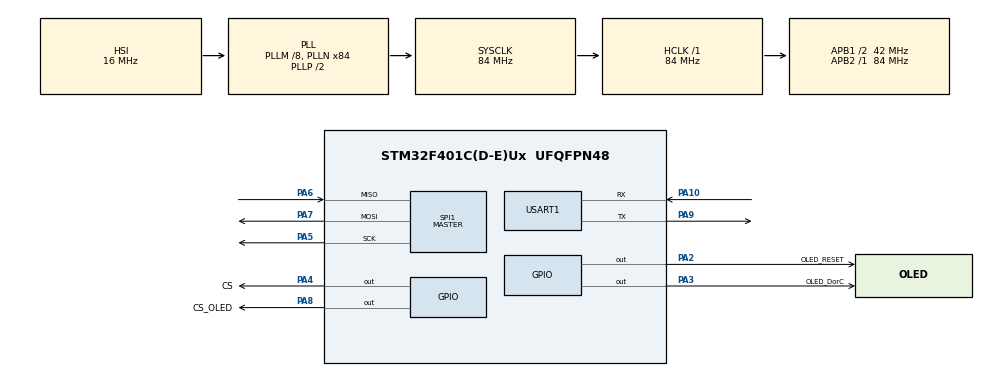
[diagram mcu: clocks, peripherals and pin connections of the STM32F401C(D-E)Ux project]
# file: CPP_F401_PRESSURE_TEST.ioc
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Mcu.Family=STM32F4
Mcu.Name=STM32F401C(D-E)Ux
Mcu.Package=UFQFPN48
NVIC.PriorityGroup=NVIC_PRIORITYGROUP_4
PA10.Mode=Asynchronous
PA10.Signal=USART1_RX
PA13.Mode=Serial_Wire
PA13.Signal=SYS_JTMS-SWDIO
PA14.Mode=Serial_Wire
PA14.Signal=SYS_JTCK-SWCLK
PA2.GPIO_Label=OLED_RESET
PA2.GPIO_ModeDefaultOutputPP=GPIO_MODE_OUTPUT_PP
PA2.GPIO_PuPd=GPIO_PULLDOWN
PA2.GPIO_Speed=GPIO_SPEED_FREQ_VERY_HIGH
PA2.PinState=GPIO_PIN_SET
PA2.Signal=GPIO_Output
PA3.GPIO_Label=OLED_DorC
PA3.GPIO_PuPd=GPIO_PULLUP
PA3.GPIO_Speed=GPIO_SPEED_FREQ_VERY_HIGH
PA3.PinState=GPIO_PIN_SET
PA3.Signal=GPIO_Output
PA4.GPIO_Label=CS
PA4.GPIO_PuPd=GPIO_PULLUP
PA4.GPIO_Speed=GPIO_SPEED_FREQ_VERY_HIGH
PA4.PinState=GPIO_PIN_SET
PA4.Signal=GPIO_Output
PA5.Mode=Full_Duplex_Master
PA5.Signal=SPI1_SCK
PA6.Mode=Full_Duplex_Master
PA6.Signal=SPI1_MISO
PA7.Mode=Full_Duplex_Master
PA7.Signal=SPI1_MOSI
PA8.GPIO_Label=CS_OLED
PA8.GPIO_ModeDefaultOutputPP=GPIO_MODE_OUTPUT_PP
PA8.GPIO_PuPd=GPIO_PULLUP
PA8.GPIO_Speed=GPIO_SPEED_FREQ_VERY_HIGH
PA8.PinState=GPIO_PIN_SET
PA8.Signal=GPIO_Output
PA9.Mode=Asynchronous
PA9.Signal=USART1_TX
ProjectManager.HeapSize=0x200
ProjectManager.StackSize=0x400
ProjectManager.TargetToolchain=STM32CubeIDE
RCC.48MHZClocksFreq_Value=42000000
RCC.AHBFreq_Value=84000000
RCC.APB1CLKDivider=RCC_HCLK_DIV2
RCC.APB1Freq_Value=42000000
RCC.APB1TimFreq_Value=84000000
RCC.APB2Freq_Value=84000000
RCC.APB2TimFreq_Value=84000000
RCC.CortexFreq_Value=84000000
RCC.HCLKFreq_Value=84000000
RCC.HSE_VALUE=25000000
RCC.HSI_VALUE=16000000
RCC.LSE_VALUE=32768
RCC.PLLM=8
RCC.PLLN=84
RCC.SYSCLKFreq_VALUE=84000000
RCC.SYSCLKSource=RCC_SYSCLKSOURCE_PLLCLK
RCC.VCOOutputFreq_Value=168000000
SPI1.BaudRatePrescaler=SPI_BAUDRATEPRESCALER_16
SPI1.CLKPhase=SPI_PHASE_2EDGE
SPI1.CLKPolarity=SPI_POLARITY_HIGH
SPI1.Direction=SPI_DIRECTION_2LINES
SPI1.Mode=SPI_MODE_MASTER
SPI1.VirtualType=VM_MASTER
USART1.VirtualMode=VM_ASYNC
board=custom

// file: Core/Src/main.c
/* USER CODE BEGIN Header */
/**
  ******************************************************************************
  * @file           : main.c
  * @brief          : Main program body
  ******************************************************************************
  * @attention
  *
  * Copyright (c) 2021 STMicroelectronics.
  * All rights reserved.
  *
  * This software is licensed under terms that can be found in the LICENSE file
  * in the root directory of this software component.
  * If no LICENSE file comes with this software, it is provided AS-IS.
  *
  ******************************************************************************
  */
/* USER CODE END Header */
#include "main.h"

/* USER CODE BEGIN Includes */
#include "BMP280.h"
#include "stdio.h"
#include "front.h"
/* USER CODE END Includes */

/* USER CODE BEGIN PTD */
#ifdef __GNUC__
#define PUTCHAR_PROTOTYPE int __io_putchar(int ch)
#else
#define PUTCHAR_PROTOTYPE int fputc(int ch, FILE *f)
#endif
PUTCHAR_PROTOTYPE
{
//此处用的是USART2
//你在使用时仅仅需要把’USART2‘改成你的串口就可以�?????????????
    while ((USART1->SR & 0X40) == 0);
    USART1->DR = (uint8_t) ch;
    return ch;
}
/* USER CODE END PTD */

SPI_HandleTypeDef hspi1;

UART_HandleTypeDef huart1;

/* USER CODE BEGIN PV */
double pressure_temperature[2];
/* USER CODE END PV */

void SystemClock_Config(void);
static void MX_GPIO_Init(void);
static void MX_SPI1_Init(void);
static void MX_USART1_UART_Init(void);
/* USER CODE BEGIN PFP */
void oled_display_test();
void oled_cmd(uint8_t cmd);
void oled_data(uint8_t data);
void oled_init();
void temperature_display_test();
/* USER CODE END PFP */

int main(void)
{

  /* MCU Configuration--------------------------------------------------------*/

  /* Reset of all peripherals, Initializes the Flash interface and the Systick. */
  HAL_Init();

  /* Configure the system clock */
  SystemClock_Config();

  /* Initialize all configured peripherals */
  MX_GPIO_Init();
  MX_SPI1_Init();
  MX_USART1_UART_Init();
  /* USER CODE BEGIN 2 */
  uint8_t text[]="12345";
  HAL_UART_Transmit(&huart1, text, 5, 1000);
  printf("start!\r\n");

  Bmp280 sensor1;
  Bmp280_init(&hspi1, CS_GPIO_Port, CS_Pin, 16, 2, 16, &sensor1);
  //Bmp280 sensor1(&hspi1, CS_GPIO_Port, CS_Pin, 16, 1, 2);
  printf("Initiate complete!\r\n");
  /* USER CODE END 2 */

  /* Infinite loop */
  /* USER CODE BEGIN WHILE */
  oled_init();
  oled_display_test();

  while (1)
  {
	  //sensor1.pressure_and_temperature_read(pressure_temperature);
	  pressure_and_temperature_read(pressure_temperature, &sensor1);
	  printf("pressure: %.3f, temperature: %.3f\r\n", pressure_temperature[0], pressure_temperature[1]);
	  temperature_display_test();
	  HAL_Delay(1000);
    /* USER CODE END WHILE */

  }
}

void SystemClock_Config(void)
{
  RCC_OscInitTypeDef RCC_OscInitStruct = {0};
  RCC_ClkInitTypeDef RCC_ClkInitStruct = {0};

  /** Configure the main internal regulator output voltage
  */
  __HAL_RCC_PWR_CLK_ENABLE();
  __HAL_PWR_VOLTAGESCALING_CONFIG(PWR_REGULATOR_VOLTAGE_SCALE2);
  /** Initializes the RCC Oscillators according to the specified parameters
  * in the RCC_OscInitTypeDef structure.
  */
  RCC_OscInitStruct.OscillatorType = RCC_OSCILLATORTYPE_HSI;
  RCC_OscInitStruct.HSIState = RCC_HSI_ON;
  RCC_OscInitStruct.HSICalibrationValue = RCC_HSICALIBRATION_DEFAULT;
  RCC_OscInitStruct.PLL.PLLState = RCC_PLL_ON;
  RCC_OscInitStruct.PLL.PLLSource = RCC_PLLSOURCE_HSI;
  RCC_OscInitStruct.PLL.PLLM = 8;
  RCC_OscInitStruct.PLL.PLLN = 84;
  RCC_OscInitStruct.PLL.PLLP = RCC_PLLP_DIV2;
  RCC_OscInitStruct.PLL.PLLQ = 4;
  if (HAL_RCC_OscConfig(&RCC_OscInitStruct) != HAL_OK)
  {
    Error_Handler();
  }
  /** Initializes the CPU, AHB and APB buses clocks
  */
  RCC_ClkInitStruct.ClockType = RCC_CLOCKTYPE_HCLK|RCC_CLOCKTYPE_SYSCLK
                              |RCC_CLOCKTYPE_PCLK1|RCC_CLOCKTYPE_PCLK2;
  RCC_ClkInitStruct.SYSCLKSource = RCC_SYSCLKSOURCE_PLLCLK;
  RCC_ClkInitStruct.AHBCLKDivider = RCC_SYSCLK_DIV1;
  RCC_ClkInitStruct.APB1CLKDivider = RCC_HCLK_DIV2;
  RCC_ClkInitStruct.APB2CLKDivider = RCC_HCLK_DIV1;

  if (HAL_RCC_ClockConfig(&RCC_ClkInitStruct, FLASH_LATENCY_2) != HAL_OK)
  {
    Error_Handler();
  }
}

static void MX_SPI1_Init(void)
{

  /* SPI1 parameter configuration*/
  hspi1.Instance = SPI1;
  hspi1.Init.Mode = SPI_MODE_MASTER;
  hspi1.Init.Direction = SPI_DIRECTION_2LINES;
  hspi1.Init.DataSize = SPI_DATASIZE_8BIT;
  hspi1.Init.CLKPolarity = SPI_POLARITY_HIGH;
  hspi1.Init.CLKPhase = SPI_PHASE_2EDGE;
  hspi1.Init.NSS = SPI_NSS_SOFT;
  hspi1.Init.BaudRatePrescaler = SPI_BAUDRATEPRESCALER_16;
  hspi1.Init.FirstBit = SPI_FIRSTBIT_MSB;
  hspi1.Init.TIMode = SPI_TIMODE_DISABLE;
  hspi1.Init.CRCCalculation = SPI_CRCCALCULATION_DISABLE;
  hspi1.Init.CRCPolynomial = 10;
  if (HAL_SPI_Init(&hspi1) != HAL_OK)
  {
    Error_Handler();
  }

}

static void MX_USART1_UART_Init(void)
{

  huart1.Instance = USART1;
  huart1.Init.BaudRate = 115200;
  huart1.Init.WordLength = UART_WORDLENGTH_8B;
  huart1.Init.StopBits = UART_STOPBITS_1;
  huart1.Init.Parity = UART_PARITY_NONE;
  huart1.Init.Mode = UART_MODE_TX_RX;
  huart1.Init.HwFlowCtl = UART_HWCONTROL_NONE;
  huart1.Init.OverSampling = UART_OVERSAMPLING_16;
  if (HAL_UART_Init(&huart1) != HAL_OK)
  {
    Error_Handler();
  }

}

static void MX_GPIO_Init(void)
{
  GPIO_InitTypeDef GPIO_InitStruct = {0};

  /* GPIO Ports Clock Enable */
  __HAL_RCC_GPIOA_CLK_ENABLE();

  /*Configure GPIO pin Output Level */
  HAL_GPIO_WritePin(GPIOA, OLED_RESET_Pin|OLED_DorC_Pin|CS_Pin|CS_OLED_Pin, GPIO_PIN_SET);

  /*Configure GPIO pin : OLED_RESET_Pin */
  GPIO_InitStruct.Pin = OLED_RESET_Pin;
  GPIO_InitStruct.Mode = GPIO_MODE_OUTPUT_PP;
  GPIO_InitStruct.Pull = GPIO_PULLDOWN;
  GPIO_InitStruct.Speed = GPIO_SPEED_FREQ_VERY_HIGH;
  HAL_GPIO_Init(OLED_RESET_GPIO_Port, &GPIO_InitStruct);

  /*Configure GPIO pins : OLED_DorC_Pin CS_Pin CS_OLED_Pin */
  GPIO_InitStruct.Pin = OLED_DorC_Pin|CS_Pin|CS_OLED_Pin;
  GPIO_InitStruct.Mode = GPIO_MODE_OUTPUT_PP;
  GPIO_InitStruct.Pull = GPIO_PULLUP;
  GPIO_InitStruct.Speed = GPIO_SPEED_FREQ_VERY_HIGH;
  HAL_GPIO_Init(GPIOA, &GPIO_InitStruct);

}

/* USER CODE BEGIN 4 */
void oled_data(uint8_t data)
{
	HAL_GPIO_WritePin(CS_OLED_GPIO_Port, CS_OLED_Pin, GPIO_PIN_RESET);
	HAL_GPIO_WritePin(OLED_DorC_GPIO_Port, OLED_DorC_Pin, GPIO_PIN_SET);
	HAL_SPI_Transmit(&hspi1, &data, 1, 100);
	HAL_GPIO_WritePin(CS_OLED_GPIO_Port, CS_OLED_Pin, GPIO_PIN_SET);
}
void oled_cmd(uint8_t cmd)
{
	HAL_GPIO_WritePin(CS_OLED_GPIO_Port, CS_OLED_Pin, GPIO_PIN_RESET);
	HAL_GPIO_WritePin(OLED_DorC_GPIO_Port, OLED_DorC_Pin, GPIO_PIN_RESET);
	HAL_SPI_Transmit(&hspi1, &cmd, 1, 100);
	HAL_GPIO_WritePin(CS_OLED_GPIO_Port, CS_OLED_Pin, GPIO_PIN_SET);

}
void oled_init()
{
	HAL_GPIO_WritePin(OLED_RESET_GPIO_Port, OLED_RESET_Pin, GPIO_PIN_RESET);
	HAL_Delay(300);
	HAL_GPIO_WritePin(OLED_RESET_GPIO_Port, OLED_RESET_Pin, GPIO_PIN_SET);
	HAL_Delay(30);
	uint8_t cmd[]={0xae, 0xd5, 0x80, 0x20,
	0x02, 0xa8, 0x3f, 0xda,
	0x12, 0xa1, 0xc8, 0x40,
	0xd3, 0x00, 0x81, 0xff,
	0xd9, 0xf1, 0xdb, 0x20,
	0x8d, 0x14, 0xa4, 0xa6,
	0xaf};
	for(uint8_t i=0;i<25;i++)
	{
		oled_cmd(cmd[i]);
	}
}
void oled_display_test()
{
	for(uint8_t i=0;i<8;i++)
		{
			oled_cmd(0xb0|i);
			oled_cmd(0x00);
			oled_cmd(0x10);
			for(uint8_t j=0;j<128;j++)
			{
				oled_data(0);
			}
		}
	uint8_t text1[3]={qi,wen, maohao};
	uint8_t start_row=0xb2;
	for(uint8_t i=0; i<3; i++)
	{
		oled_cmd(start_row);
		oled_cmd(0x00+((i*16)&0x0f));
		oled_cmd(0x10+(((i*16)&0xf0)>>4));
		for(uint8_t j=0; j<16;j++)
		{
			oled_data(words[text1[i]*16+j]);
		}
		oled_cmd(start_row+1);
		oled_cmd(0x00+((i*16)&0x0f));
		oled_cmd(0x10+(((i*16)&0xf0)>>4));
		for(uint8_t j=0; j<16;j++)
		{
			oled_data(words[text1[i]*16+j+16]);
		}
	}
	uint8_t text2[3]={qi,ya, maohao};
	start_row=0xb4;
	for(uint8_t i=0; i<3; i++)
	{
		oled_cmd(start_row);
		oled_cmd(0x00+((i*16)&0x0f));
		oled_cmd(0x10+(((i*16)&0xf0)>>4));
		for(uint8_t j=0; j<16;j++)
		{
			oled_data(words[text2[i]*16+j]);
		}
		oled_cmd(start_row+1);
		oled_cmd(0x00+((i*16)&0x0f));
		oled_cmd(0x10+(((i*16)&0xf0)>>4));
		for(uint8_t j=0; j<16;j++)
		{
			oled_data(words[text2[i]*16+j+16]);
		}
	}
	/*
	for(uint8_t i=0;i<8;i++)
	{
		oled_cmd(0xb0|i);
		oled_cmd(0x00);
		oled_cmd(0x10);
		for(uint8_t j=0;j<128;j++)
		{
			if(j<i*8)
			{
				oled_data(0xff);
			}
			else if(j>i*8+64)
			{
				oled_data(0xff);
			}
			else
			{
				oled_data(0);
			}

		}
	}
	oled_cmd(0x26);
	oled_cmd(0x00);
	oled_cmd(0x00);
	oled_cmd(0x00);
	oled_cmd(0x07);
	oled_cmd(0x2f);
	*/
}
void temperature_display_test()
{

	uint8_t start_row=0xb2;
	uint8_t start_col=4*16;
	uint8_t temp[4];
	uint16_t temperature=(int)(pressure_temperature[1]*100);
	for(int8_t i=3;i>=0;i--)
	{
		temp[i]=temperature%10;
		temperature=(temperature-temp[i])/10;
	}
	uint8_t text1[]={num[temp[0]],num[temp[1]],dot,num[temp[2]],num[temp[3]]};
	for(uint8_t i=0; i<5; i++)
	{
		oled_cmd(start_row);
		oled_cmd(0x00+((i*8+start_col)&0x0f));
		oled_cmd(0x10+(((i*8+start_col)&0xf0)>>4));
		for(uint8_t j=0; j<8;j++)
		{

			oled_data(words[text1[i]*16+j]);
		}
		oled_cmd(start_row+1);
		oled_cmd(0x00+((i*8+start_col)&0x0f));
		oled_cmd(0x10+(((i*8+start_col)&0xf0)>>4));
		for(uint8_t j=0; j<8;j++)
		{

			oled_data(words[text1[i]*16+j+8]);
		}
	}
	uint8_t press[6];
	uint32_t pressure=(int)pressure_temperature[0];
	for(int8_t i=5; i>=0; i--)
	{
		press[i]=pressure%10;
		pressure=(pressure-press[i])/10;
	}
	uint8_t text2[]={num[press[0]],num[press[1]],num[press[2]],num[press[3]],num[press[4]],num[press[5]]};
	start_row=0xb4;
	for(uint8_t i=0; i<6; i++)
	{
		oled_cmd(start_row);
		oled_cmd(0x00+((i*8+start_col)&0x0f));
		oled_cmd(0x10+(((i*8+start_col)&0xf0)>>4));
		for(uint8_t j=0; j<8;j++)
		{
			oled_data(words[text2[i]*16+j]);
		}
		oled_cmd(start_row+1);
		oled_cmd(0x00+((i*8+start_col)&0x0f));
		oled_cmd(0x10+(((i*8+start_col)&0xf0)>>4));
		for(uint8_t j=0; j<8;j++)
		{
			oled_data(words[text2[i]*16+j+8]);
		}
	}
}
/* USER CODE END 4 */

void Error_Handler(void)
{
  __disable_irq();
  while (1)
  {
  }
}
